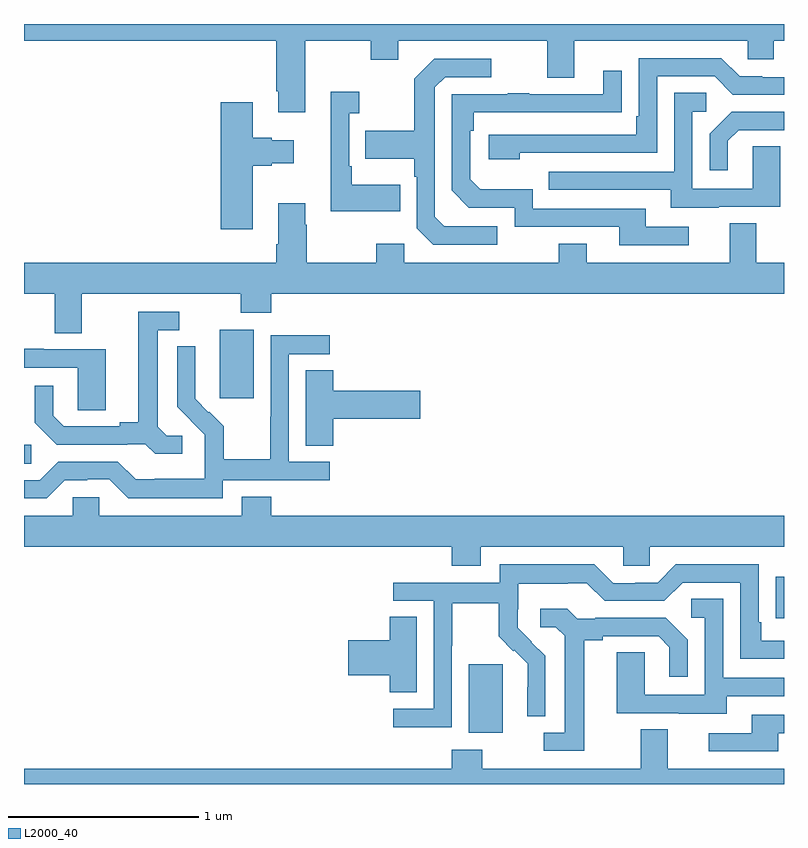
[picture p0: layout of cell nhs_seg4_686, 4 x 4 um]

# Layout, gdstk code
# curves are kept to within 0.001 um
import gdstk
lib = gdstk.Library(unit=1e-6, precision=1e-09)
def R(c, l, rs):  # rectangles x0, y0, x1, y1
    for r in rs: c.add(gdstk.rectangle(r[:2], r[2:], *l))
def P(c, l, *ps):  # polygons
    for p in ps: c.add(gdstk.Polygon(p, *l))
L2000_40 = (2000, 40)

nhs_seg4_686 = lib.new_cell('nhs_seg4_686')
R(nhs_seg4_686, L2000_40, [(147.341,801.17,147.52,801.531), (148.957,801.772,149,801.991), (145,802.585,145.039,802.686), (146.03,802.929,146.209,803.29)])
P(nhs_seg4_686, L2000_40, [(146.479,804.812),(146.824,804.812),(146.824,804.713),(146.971,804.713),(146.971,804.812),(147.755,804.812),(147.755,804.618),(147.895,804.618),(147.895,804.812),(148.809,804.812),(148.809,804.714),(148.947,804.714),(148.947,804.812),(149,804.812),(149,804.9),(145,804.9),(145,804.812),(146.327,804.812),(146.327,804.547),(146.339,804.547),(146.339,804.435),(146.479,804.435)],
  [(147.608,804.222),(148.332,804.222),(148.332,804.624),(148.635,804.624),(148.731,804.528),(149,804.528),(149,804.621),(148.886,804.621),(148.886,804.624),(148.767,804.624),(148.671,804.72),(148.236,804.72),(148.236,804.415),(148.223,804.415),(148.223,804.318),(147.447,804.318),(147.447,804.188),(147.608,804.188)],
  [(147.49,803.835),(147.213,803.835),(147.162,803.886),(147.162,804.567),(147.216,804.621),(147.46,804.621),(147.46,804.717),(147.159,804.717),(147.054,804.611),(147.054,804.339),(146.797,804.339),(146.797,804.191),(147.054,804.191),(147.054,804.095),(147.066,804.095),(147.066,803.826),(147.153,803.739),(147.49,803.739)],
  [(148.498,803.832),(148.273,803.832),(148.273,803.928),(147.678,803.928),(147.678,804.031),(147.401,804.031),(147.348,804.084),(147.348,804.338),(147.368,804.338),(147.368,804.435),(148.145,804.436),(148.145,804.655),(148.049,804.655),(148.049,804.531),(147.659,804.531),(147.659,804.536),(147.547,804.536),(147.547,804.531),(147.252,804.531),(147.252,804.024),(147.342,803.934),(147.582,803.934),(147.582,803.832),(148.133,803.832),(148.133,803.736),(148.498,803.736)],
  [(146.981,804.055),(146.725,804.055),(146.725,804.151),(146.712,804.151),(146.712,804.431),(146.764,804.431),(146.764,804.544),(146.615,804.544),(146.615,803.915),(146.981,803.915)],
  [(148.657,803.937),(148.981,803.937),(148.981,804.257),(148.836,804.257),(148.836,804.033),(148.518,804.033),(148.518,804.438),(148.591,804.438),(148.591,804.539),(148.422,804.539),(148.422,804.123),(147.763,804.123),(147.763,804.027),(148.403,804.027),(148.403,803.933),(148.657,803.933)],
  [(146.203,804.155),(146.303,804.155),(146.303,804.167),(146.419,804.167),(146.419,804.289),(146.303,804.289),(146.303,804.302),(146.203,804.302),(146.203,804.487),(146.036,804.487),(146.036,803.82),(146.203,803.82)],
  [(148.705,804.285),(148.762,804.342),(149,804.342),(149,804.438),(148.724,804.438),(148.608,804.322),(148.608,804.129),(148.705,804.129)],
  [(149,803.644),(148.855,803.644),(148.855,803.852),(148.715,803.852),(148.715,803.644),(147.961,803.644),(147.961,803.743),(147.814,803.743),(147.814,803.644),(147,803.644),(147,803.743),(146.854,803.743),(146.854,803.644),(146.487,803.644),(146.487,803.843),(146.479,803.843),(146.479,803.956),(146.339,803.956),(146.339,803.74),(146.327,803.74),(146.327,803.644),(145,803.644),(145,803.48),(145.163,803.48),(145.163,803.272),(145.303,803.272),(145.303,803.48),(146.14,803.48),(146.14,803.381),(146.3,803.381),(146.3,803.48),(149,803.48)],
  [(145.834,802.734),(145.752,802.734),(145.705,802.781),(145.705,803.289),(145.816,803.289),(145.816,803.385),(145.601,803.385),(145.601,802.805),(145.505,802.805),(145.505,802.782),(145.21,802.782),(145.153,802.839),(145.153,802.996),(145.056,802.996),(145.056,802.802),(145.172,802.686),(145.544,802.686),(145.544,802.689),(145.638,802.689),(145.69,802.637),(145.834,802.637)],
  [(146.046,802.5),(146.608,802.5),(146.608,802.596),(146.394,802.596),(146.394,803.163),(146.608,803.163),(146.608,803.262),(146.298,803.262),(146.298,802.832),(146.296,802.832),(146.296,802.609),(146.051,802.609),(146.051,802.783),(145.974,802.86),(145.971,802.857),(145.901,802.928),(145.902,803.204),(145.806,803.204),(145.806,802.886),(145.952,802.738),(145.952,802.641),(145.95,802.641),(145.95,802.507),(145.687,802.507),(145.687,802.503),(145.587,802.503),(145.494,802.596),(145.179,802.596),(145.083,802.5),(145,802.5),(145,802.404),(145.119,802.404),(145.215,802.5),(145.334,802.5),(145.334,802.503),(145.449,802.503),(145.549,802.403),(146.046,802.403)],
  [(145.429,803.187),(145.105,803.187),(145.105,803.191),(145,803.191),(145,803.091),(145.284,803.091),(145.284,802.867),(145.429,802.867)],
  [(146.627,802.823),(147.085,802.823),(147.085,802.97),(146.627,802.97),(146.627,803.078),(146.483,803.078),(146.483,802.681),(146.627,802.681)],
  [(147.403,802.148),(148.155,802.148),(148.155,802.05),(148.293,802.05),(148.293,802.148),(149,802.148),(149,802.312),(146.3,802.312),(146.3,802.411),(146.147,802.411),(146.147,802.312),(145.395,802.312),(145.395,802.41),(145.257,802.41),(145.257,802.312),(145,802.312),(145,802.148),(147.251,802.148),(147.251,802.049),(147.403,802.049)],
  [(147.252,801.628),(147.255,801.628),(147.255,801.852),(147.499,801.852),(147.499,801.677),(147.576,801.6),(147.579,801.603),(147.65,801.533),(147.65,801.41),(147.648,801.41),(147.648,801.256),(147.744,801.256),(147.744,801.574),(147.598,801.722),(147.598,801.819),(147.6,801.819),(147.6,801.953),(147.863,801.953),(147.863,801.957),(147.963,801.957),(148.056,801.864),(148.371,801.864),(148.467,801.96),(148.77,801.96),(148.77,801.558),(149,801.558),(149,801.654),(148.879,801.654),(148.879,801.751),(148.866,801.751),(148.866,802.056),(148.431,802.056),(148.335,801.96),(148.217,801.96),(148.217,801.957),(148.101,801.957),(148.001,802.057),(147.504,802.057),(147.504,801.96),(146.943,801.96),(146.943,801.864),(147.156,801.864),(147.156,801.297),(146.943,801.297),(146.943,801.199),(147.252,801.199)],
  [(148.699,801.363),(149,801.363),(149,801.459),(148.68,801.459),(148.68,801.875),(148.512,801.875),(148.512,801.774),(148.584,801.774),(148.584,801.369),(148.266,801.369),(148.266,801.593),(148.121,801.593),(148.121,801.273),(148.445,801.273),(148.445,801.269),(148.699,801.269)],
  [(147.949,801.656),(148.045,801.656),(148.045,801.678),(148.34,801.678),(148.397,801.621),(148.397,801.465),(148.494,801.465),(148.494,801.658),(148.378,801.774),(148.006,801.774),(148.006,801.771),(147.912,801.771),(147.86,801.823),(147.717,801.823),(147.717,801.726),(147.798,801.726),(147.845,801.679),(147.845,801.171),(147.735,801.171),(147.735,801.075),(147.949,801.075)],
  [(147.067,801.779),(146.924,801.779),(146.924,801.656),(146.706,801.656),(146.706,801.473),(146.924,801.473),(146.924,801.382),(147.067,801.382)],
  [(148.969,801.168),(149,801.168),(149,801.264),(148.829,801.264),(148.829,801.168),(148.605,801.168),(148.605,801.072),(148.969,801.072)],
  [(149,800.98),(148.387,800.98),(148.387,801.188),(148.247,801.188),(148.247,800.98),(147.411,800.98),(147.411,801.079),(147.251,801.079),(147.251,800.98),(145,800.98),(145,800.9),(149,800.9)])

lib.write_gds('nhs_seg4_686.gds')
